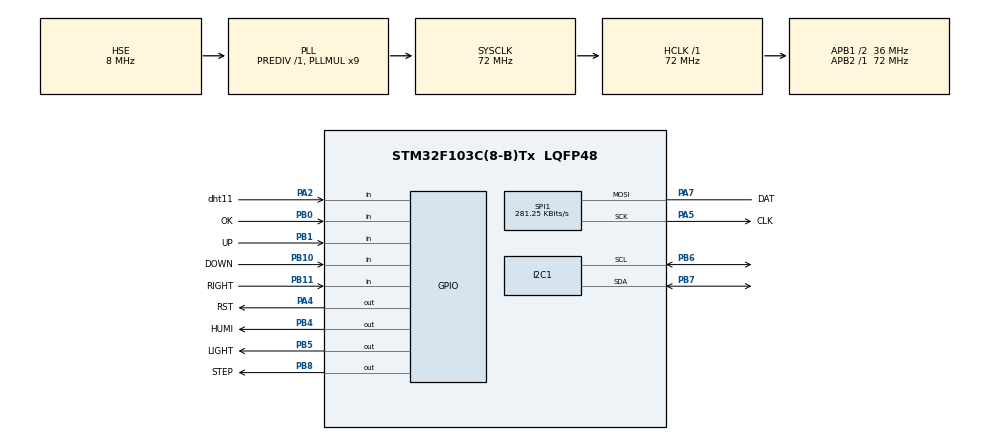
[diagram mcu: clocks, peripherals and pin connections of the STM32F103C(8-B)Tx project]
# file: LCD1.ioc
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Mcu.Family=STM32F1
Mcu.Name=STM32F103C(8-B)Tx
Mcu.Package=LQFP48
NVIC.PriorityGroup=NVIC_PRIORITYGROUP_4
PA13.Mode=Serial_Wire
PA13.Signal=SYS_JTMS-SWDIO
PA14.Mode=Serial_Wire
PA14.Signal=SYS_JTCK-SWCLK
PA2.GPIO_Label=dht11
PA2.Signal=GPIO_Input
PA4.GPIO_Label=RST
PA4.GPIO_Speed=GPIO_SPEED_FREQ_HIGH
PA4.Signal=GPIO_Output
PA5.GPIO_Label=CLK
PA5.Mode=Simplex_Bidirectional_Master
PA5.Signal=SPI1_SCK
PA7.GPIO_Label=DAT
PA7.Mode=Simplex_Bidirectional_Master
PA7.Signal=SPI1_MOSI
PB0.GPIO_Label=OK
PB0.GPIO_PuPd=GPIO_PULLUP
PB0.Signal=GPIO_Input
PB1.GPIO_Label=UP
PB1.GPIO_PuPd=GPIO_PULLUP
PB1.Signal=GPIO_Input
PB10.GPIO_Label=DOWN
PB10.GPIO_PuPd=GPIO_PULLUP
PB10.Signal=GPIO_Input
PB11.GPIO_Label=RIGHT
PB11.GPIO_PuPd=GPIO_PULLUP
PB11.Signal=GPIO_Input
PB4.GPIO_Label=HUMI
PB4.GPIO_Speed=GPIO_SPEED_FREQ_HIGH
PB4.Signal=GPIO_Output
PB5.GPIO_Label=LIGHT
PB5.GPIO_Speed=GPIO_SPEED_FREQ_HIGH
PB5.Signal=GPIO_Output
PB6.Mode=I2C
PB6.Signal=I2C1_SCL
PB7.Mode=I2C
PB7.Signal=I2C1_SDA
PB8.GPIO_Label=STEP
PB8.GPIO_Speed=GPIO_SPEED_FREQ_HIGH
PB8.Signal=GPIO_Output
PD0-OSC_IN.Mode=HSE-External-Oscillator
PD0-OSC_IN.Signal=RCC_OSC_IN
PD1-OSC_OUT.Mode=HSE-External-Oscillator
PD1-OSC_OUT.Signal=RCC_OSC_OUT
ProjectManager.HeapSize=0x200
ProjectManager.StackSize=0x400
ProjectManager.TargetToolchain=MDK-ARM V5.32
RCC.AHBFreq_Value=72000000
RCC.APB1CLKDivider=RCC_HCLK_DIV2
RCC.APB1Freq_Value=36000000
RCC.APB1TimFreq_Value=72000000
RCC.APB2Freq_Value=72000000
RCC.APB2TimFreq_Value=72000000
RCC.HCLKFreq_Value=72000000
RCC.PLLMUL=RCC_PLL_MUL9
RCC.PLLSourceVirtual=RCC_PLLSOURCE_HSE
RCC.SYSCLKFreq_VALUE=72000000
RCC.SYSCLKSource=RCC_SYSCLKSOURCE_PLLCLK
RCC.USBFreq_Value=72000000
SPI1.BaudRatePrescaler=SPI_BAUDRATEPRESCALER_256
SPI1.CalculateBaudRate=281.25 KBits/s
SPI1.Direction=SPI_DIRECTION_1LINE
SPI1.FirstBit=SPI_FIRSTBIT_LSB
SPI1.Mode=SPI_MODE_MASTER
SPI1.VirtualType=VM_MASTER
TIM2.Period=65535-1
TIM2.Prescaler=71
TIM2.TIM_MasterOutputTrigger=TIM_TRGO_UPDATE
VP_TIM2_VS_ClockSourceINT.Mode=Internal
board=custom

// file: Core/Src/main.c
/* USER CODE BEGIN Header */
/**
  ******************************************************************************
  * @file           : main.c
  * @brief          : Main program body
  *
  * Chức năng: Ứng dụng hiển thị và điều chỉnh nhiệt độ/độ ẩm sử dụng LCD 16x2 I2C
  * và 4 nút bấm (OK, UP, DOWN, RIGHT).
  * * Sử dụng thư viện I2C LCD bên ngoài (i2c_lcd.h/c).
  * ******************************************************************************
  */
/* USER CODE END Header */
#include "main.h"

/* USER CODE BEGIN Includes */
#include <stdio.h>
#include <stdlib.h>
#include "i2c_lcd.h"
#include "mk_dht11.h"
#include "ds1302.h"
/* USER CODE END Includes */

/* USER CODE BEGIN PD */
#define I2C_SLAVE_ADDR 0x4E
#define DHT11_READ_INTERVAL 2000
/* USER CODE END PD */

/* USER CODE BEGIN PM */
#define MOTOR_START_DELAY 20000
#define MOTOR_PULSE_PERIOD 10
#define MOTOR_STEPS_PER_REV 200
#define MOTOR_MICROSTEP 4
#define MOTOR_STEPS_PER_CYCLE (MOTOR_STEPS_PER_REV * MOTOR_MICROSTEP)
/* USER CODE END PM */

I2C_HandleTypeDef hi2c1;

SPI_HandleTypeDef hspi1;

TIM_HandleTypeDef htim2;

/* USER CODE BEGIN PV */
uint8_t motor_enabled = 0;
uint32_t motor_start_time = 0;
uint32_t last_motor_pulse = 0;
uint8_t motor_pulse_state = 0;
uint32_t motor_step_count = 0;
uint8_t motor_initialized = 0;

I2C_LCD_HandleTypeDef lcd1;
dht11_t dht11_sensor;

// Trạng thái (0: Màn hình 1, 1: Màn hình 2, 2: Màn hình 3 (Set Nhiệt), 3: Màn hình 4 (Set Độ ẩm))
int current_screen = 0;

float set_temp = 25.0;
float set_hum = 60.0;
float measured_temp = 30.5;
float measured_hum = 75.2;
uint8_t read_status = 0;
char buffer[17];

uint32_t last_dht11_read = 0;
const uint32_t DHT11_INTERVAL = 2000; // 2s

// Thời gian debounce cho nút bấm
uint32_t last_button_time = 0;
const uint32_t DEBOUNCE_TIME = 200; // 200ms
/* USER CODE END PV */

void SystemClock_Config(void);
static void MX_GPIO_Init(void);
static void MX_I2C1_Init(void);
static void MX_SPI1_Init(void);
static void MX_TIM2_Init(void);
/* USER CODE BEGIN PFP */

int is_button_pressed(GPIO_TypeDef* GPIOx, uint16_t GPIO_Pin);
void Handle_Buttons(void);
void Update_LCD_Display(void);
void Read_DHT11(void);
void Handle_Motor(void);
void Control_Outputs(void);

/* USER CODE END PFP */

/* USER CODE BEGIN 0 */

void Control_Outputs(void)
{

    if (measured_temp <= set_temp - 2)
    {
        HAL_GPIO_WritePin(LIGHT_GPIO_Port, LIGHT_Pin, GPIO_PIN_SET);
    }
    else if (measured_temp >= set_temp + 2)
    {
        HAL_GPIO_WritePin(LIGHT_GPIO_Port, LIGHT_Pin, GPIO_PIN_RESET);
    }

    if (measured_hum <= set_hum - 2)
    {
        HAL_GPIO_WritePin(HUMI_GPIO_Port, HUMI_Pin, GPIO_PIN_SET);
    }
    else if (measured_hum >= set_hum + 2)
    {
        HAL_GPIO_WritePin(HUMI_GPIO_Port, HUMI_Pin, GPIO_PIN_RESET);
    }
}

void Read_DHT11(void)
{
	if (HAL_GetTick() - last_dht11_read >= DHT11_INTERVAL)
    {
        last_dht11_read = HAL_GetTick();
        read_status = readDHT11(&dht11_sensor);

        if(read_status == 1)
        {
            measured_temp = dht11_sensor.temperature;
            measured_hum = dht11_sensor.humidty;
        }
    }
}

void Handle_Motor(void)
{
    uint32_t current_time = HAL_GetTick();

    if (!motor_initialized)
    {
        motor_start_time = current_time;
        motor_initialized = 1;
    }

    // Kiểm tra nếu đã đủ thời gian để bật motor
    if (!motor_enabled && (current_time - motor_start_time >= MOTOR_START_DELAY))
    {
        motor_enabled = 1;
        motor_step_count = 0;
        motor_pulse_state = 0;
        last_motor_pulse = current_time;
        HAL_GPIO_WritePin(STEP_GPIO_Port, STEP_Pin, GPIO_PIN_RESET);
    }

    // Nếu motor đang hoạt động
    if (motor_enabled)
    {

        if (current_time - last_motor_pulse >= (MOTOR_PULSE_PERIOD / 2))
        {
            last_motor_pulse = current_time;

            // Đảo trạng thái xung
            if (motor_pulse_state == 0)
            {
                HAL_GPIO_WritePin(STEP_GPIO_Port, STEP_Pin, GPIO_PIN_SET);
                motor_pulse_state = 1;
                motor_step_count++;
            }
            else
            {
                HAL_GPIO_WritePin(STEP_GPIO_Port, STEP_Pin, GPIO_PIN_RESET);
                motor_pulse_state = 0;
            }

            // Kiểm tra nếu đã đủ số bước
            if (motor_step_count >= MOTOR_STEPS_PER_CYCLE)
            {
                motor_enabled = 0;
                motor_start_time = current_time; // Reset bộ đếm
                motor_step_count = 0;
                motor_pulse_state = 0;
                HAL_GPIO_WritePin(STEP_GPIO_Port, STEP_Pin, GPIO_PIN_RESET);
            }
        }
    }
}

/* USER CODE END 0 */

int main(void)
{

  /* MCU Configuration--------------------------------------------------------*/

  /* Reset of all peripherals, Initializes the Flash interface and the Systick. */
  HAL_Init();

  /* Configure the system clock */
  SystemClock_Config();

  /* Initialize all configured peripherals */
  MX_GPIO_Init();
  MX_I2C1_Init();
  MX_SPI1_Init();
  MX_TIM2_Init();
  /* USER CODE BEGIN 2 */

lcd1.hi2c = &hi2c1;
  lcd1.address = I2C_SLAVE_ADDR;

  // 2. Khởi tạo LCD
  lcd_init(&lcd1);
  lcd_clear(&lcd1);
  lcd_puts(&lcd1, "System Ready!");
  HAL_Delay(1000);
	init_dht11(&dht11_sensor, &htim2, dht11_GPIO_Port, dht11_Pin);
	HAL_Delay(1000);
  /* USER CODE END 2 */

  /* Infinite loop */
  /* USER CODE BEGIN WHILE */
  while (1)
  {
		Read_DHT11();
		Handle_Motor();
		Control_Outputs();
    Handle_Buttons();
    Update_LCD_Display();
    HAL_Delay(1);
    /* USER CODE END WHILE */

  }
}

void SystemClock_Config(void)
{
  RCC_OscInitTypeDef RCC_OscInitStruct = {0};
  RCC_ClkInitTypeDef RCC_ClkInitStruct = {0};

  /** Initializes the RCC Oscillators according to the specified parameters
  * in the RCC_OscInitTypeDef structure.
  */
  RCC_OscInitStruct.OscillatorType = RCC_OSCILLATORTYPE_HSE;
  RCC_OscInitStruct.HSEState = RCC_HSE_ON;
  RCC_OscInitStruct.HSEPredivValue = RCC_HSE_PREDIV_DIV1;
  RCC_OscInitStruct.HSIState = RCC_HSI_ON;
  RCC_OscInitStruct.PLL.PLLState = RCC_PLL_ON;
  RCC_OscInitStruct.PLL.PLLSource = RCC_PLLSOURCE_HSE;
  RCC_OscInitStruct.PLL.PLLMUL = RCC_PLL_MUL9;
  if (HAL_RCC_OscConfig(&RCC_OscInitStruct) != HAL_OK)
  {
    Error_Handler();
  }

  /** Initializes the CPU, AHB and APB buses clocks
  */
  RCC_ClkInitStruct.ClockType = RCC_CLOCKTYPE_HCLK|RCC_CLOCKTYPE_SYSCLK
                              |RCC_CLOCKTYPE_PCLK1|RCC_CLOCKTYPE_PCLK2;
  RCC_ClkInitStruct.SYSCLKSource = RCC_SYSCLKSOURCE_PLLCLK;
  RCC_ClkInitStruct.AHBCLKDivider = RCC_SYSCLK_DIV1;
  RCC_ClkInitStruct.APB1CLKDivider = RCC_HCLK_DIV2;
  RCC_ClkInitStruct.APB2CLKDivider = RCC_HCLK_DIV1;

  if (HAL_RCC_ClockConfig(&RCC_ClkInitStruct, FLASH_LATENCY_2) != HAL_OK)
  {
    Error_Handler();
  }
}

static void MX_I2C1_Init(void)
{

  hi2c1.Instance = I2C1;
  hi2c1.Init.ClockSpeed = 100000;
  hi2c1.Init.DutyCycle = I2C_DUTYCYCLE_2;
  hi2c1.Init.OwnAddress1 = 0;
  hi2c1.Init.AddressingMode = I2C_ADDRESSINGMODE_7BIT;
  hi2c1.Init.DualAddressMode = I2C_DUALADDRESS_DISABLE;
  hi2c1.Init.OwnAddress2 = 0;
  hi2c1.Init.GeneralCallMode = I2C_GENERALCALL_DISABLE;
  hi2c1.Init.NoStretchMode = I2C_NOSTRETCH_DISABLE;
  if (HAL_I2C_Init(&hi2c1) != HAL_OK)
  {
    Error_Handler();
  }

}

static void MX_SPI1_Init(void)
{

  /* SPI1 parameter configuration*/
  hspi1.Instance = SPI1;
  hspi1.Init.Mode = SPI_MODE_MASTER;
  hspi1.Init.Direction = SPI_DIRECTION_1LINE;
  hspi1.Init.DataSize = SPI_DATASIZE_8BIT;
  hspi1.Init.CLKPolarity = SPI_POLARITY_LOW;
  hspi1.Init.CLKPhase = SPI_PHASE_1EDGE;
  hspi1.Init.NSS = SPI_NSS_SOFT;
  hspi1.Init.BaudRatePrescaler = SPI_BAUDRATEPRESCALER_256;
  hspi1.Init.FirstBit = SPI_FIRSTBIT_LSB;
  hspi1.Init.TIMode = SPI_TIMODE_DISABLE;
  hspi1.Init.CRCCalculation = SPI_CRCCALCULATION_DISABLE;
  hspi1.Init.CRCPolynomial = 10;
  if (HAL_SPI_Init(&hspi1) != HAL_OK)
  {
    Error_Handler();
  }

}

static void MX_TIM2_Init(void)
{

  TIM_ClockConfigTypeDef sClockSourceConfig = {0};
  TIM_MasterConfigTypeDef sMasterConfig = {0};

  htim2.Instance = TIM2;
  htim2.Init.Prescaler = 71;
  htim2.Init.CounterMode = TIM_COUNTERMODE_UP;
  htim2.Init.Period = 65535-1;
  htim2.Init.ClockDivision = TIM_CLOCKDIVISION_DIV1;
  htim2.Init.AutoReloadPreload = TIM_AUTORELOAD_PRELOAD_DISABLE;
  if (HAL_TIM_Base_Init(&htim2) != HAL_OK)
  {
    Error_Handler();
  }
  sClockSourceConfig.ClockSource = TIM_CLOCKSOURCE_INTERNAL;
  if (HAL_TIM_ConfigClockSource(&htim2, &sClockSourceConfig) != HAL_OK)
  {
    Error_Handler();
  }
  sMasterConfig.MasterOutputTrigger = TIM_TRGO_UPDATE;
  sMasterConfig.MasterSlaveMode = TIM_MASTERSLAVEMODE_DISABLE;
  if (HAL_TIMEx_MasterConfigSynchronization(&htim2, &sMasterConfig) != HAL_OK)
  {
    Error_Handler();
  }

}

static void MX_GPIO_Init(void)
{
  GPIO_InitTypeDef GPIO_InitStruct = {0};

  /* GPIO Ports Clock Enable */
  __HAL_RCC_GPIOD_CLK_ENABLE();
  __HAL_RCC_GPIOA_CLK_ENABLE();
  __HAL_RCC_GPIOB_CLK_ENABLE();

  /*Configure GPIO pin Output Level */
  HAL_GPIO_WritePin(RST_GPIO_Port, RST_Pin, GPIO_PIN_RESET);

  /*Configure GPIO pin Output Level */
  HAL_GPIO_WritePin(GPIOB, HUMI_Pin|LIGHT_Pin|STEP_Pin, GPIO_PIN_RESET);

  /*Configure GPIO pin : dht11_Pin */
  GPIO_InitStruct.Pin = dht11_Pin;
  GPIO_InitStruct.Mode = GPIO_MODE_INPUT;
  GPIO_InitStruct.Pull = GPIO_NOPULL;
  HAL_GPIO_Init(dht11_GPIO_Port, &GPIO_InitStruct);

  /*Configure GPIO pin : RST_Pin */
  GPIO_InitStruct.Pin = RST_Pin;
  GPIO_InitStruct.Mode = GPIO_MODE_OUTPUT_PP;
  GPIO_InitStruct.Pull = GPIO_NOPULL;
  GPIO_InitStruct.Speed = GPIO_SPEED_FREQ_HIGH;
  HAL_GPIO_Init(RST_GPIO_Port, &GPIO_InitStruct);

  /*Configure GPIO pins : OK_Pin UP_Pin DOWN_Pin RIGHT_Pin */
  GPIO_InitStruct.Pin = OK_Pin|UP_Pin|DOWN_Pin|RIGHT_Pin;
  GPIO_InitStruct.Mode = GPIO_MODE_INPUT;
  GPIO_InitStruct.Pull = GPIO_PULLUP;
  HAL_GPIO_Init(GPIOB, &GPIO_InitStruct);

  /*Configure GPIO pins : HUMI_Pin LIGHT_Pin STEP_Pin */
  GPIO_InitStruct.Pin = HUMI_Pin|LIGHT_Pin|STEP_Pin;
  GPIO_InitStruct.Mode = GPIO_MODE_OUTPUT_PP;
  GPIO_InitStruct.Pull = GPIO_NOPULL;
  GPIO_InitStruct.Speed = GPIO_SPEED_FREQ_HIGH;
  HAL_GPIO_Init(GPIOB, &GPIO_InitStruct);

/* USER CODE BEGIN MX_GPIO_Init_2 */
  GPIO_InitStruct.Pin = GPIO_PIN_6|GPIO_PIN_7;
  GPIO_InitStruct.Mode = GPIO_MODE_AF_OD;
  GPIO_InitStruct.Speed = GPIO_SPEED_FREQ_HIGH;
  GPIO_InitStruct.Pull = GPIO_PULLUP;
  HAL_GPIO_Init(GPIOB, &GPIO_InitStruct);
/* USER CODE END MX_GPIO_Init_2 */
}

/* USER CODE BEGIN 4 */
// Hàm đọc nút bấm có debounce
int is_button_pressed(GPIO_TypeDef* GPIOx, uint16_t GPIO_Pin)
{
    if (HAL_GPIO_ReadPin(GPIOx, GPIO_Pin) == GPIO_PIN_RESET)
    {
        if (HAL_GetTick() - last_button_time > DEBOUNCE_TIME)
        {
            last_button_time = HAL_GetTick();
            return 1;
        }
    }
    return 0;
}

void Handle_Buttons(void)
{
    // Nút RIGHT (0 -> 1 -> 2 -> 3 -> 0)
    if (is_button_pressed(RIGHT_GPIO_Port, RIGHT_Pin))
    {
        current_screen++;
        if (current_screen > 3) current_screen = 0;
        lcd_clear(&lcd1);
    }

    // Nút UP/DOWN:
    if (current_screen == 2)
    {
        if (is_button_pressed(UP_GPIO_Port, UP_Pin)) // UP
        {
            set_temp += 0.5;
            if (set_temp > 50.0) set_temp = 50.0;
        }
        if (is_button_pressed(DOWN_GPIO_Port, DOWN_Pin)) // DOWN
        {
            set_temp -= 0.5;
            if (set_temp < 0.0) set_temp = 0.0;
        }
    }
    else if (current_screen == 3)
    {
        if (is_button_pressed(UP_GPIO_Port, UP_Pin)) // UP
        {
            set_hum += 1;
            if (set_hum > 100.0) set_hum = 100.0;
        }
        if (is_button_pressed(DOWN_GPIO_Port, DOWN_Pin)) // DOWN
        {
            set_hum -= 1;
            if (set_hum < 0.0) set_hum = 0.0;
        }
    }

    // Nút OK
    if (current_screen == 2 || current_screen == 3)
    {
        if (is_button_pressed(OK_GPIO_Port, OK_Pin))
        {
            current_screen = 0;
            lcd_clear(&lcd1);
        }
    }
}

void Update_LCD_Display(void)
{

    switch (current_screen)
    {
        case 0:
            lcd_gotoxy(&lcd1, 0, 0);
            sprintf(buffer, "Cur: %.1fC/%.1f%%", measured_temp, measured_hum);
            lcd_puts(&lcd1, buffer);

            lcd_gotoxy(&lcd1, 0, 1);
            sprintf(buffer, "Set: %.1fC/%.1f%%", set_temp, set_hum);
            lcd_puts(&lcd1, buffer);
            break;

        case 1:
            lcd_gotoxy(&lcd1, 0, 0);
            lcd_puts(&lcd1, "Date:           ");

            lcd_gotoxy(&lcd1, 0, 1);
            lcd_puts(&lcd1, "1/12/2025 Mon   ");
            break;

        case 2:
            lcd_gotoxy(&lcd1, 0, 0);
            lcd_puts(&lcd1, "Set Temperature");

            lcd_gotoxy(&lcd1, 0, 1);
            sprintf(buffer, ">> %.1f C <<", set_temp);
            lcd_puts(&lcd1, buffer);
            break;

        case 3:
            lcd_gotoxy(&lcd1, 0, 0);
            lcd_puts(&lcd1, "Set Humidity");

            lcd_gotoxy(&lcd1, 0, 1);
            sprintf(buffer, ">> %.1f %% <<", set_hum);
            lcd_puts(&lcd1, buffer);
            break;
    }
}
/* USER CODE END 4 */

void Error_Handler(void)
{
  __disable_irq();
  while (1)
  {
  }
}
